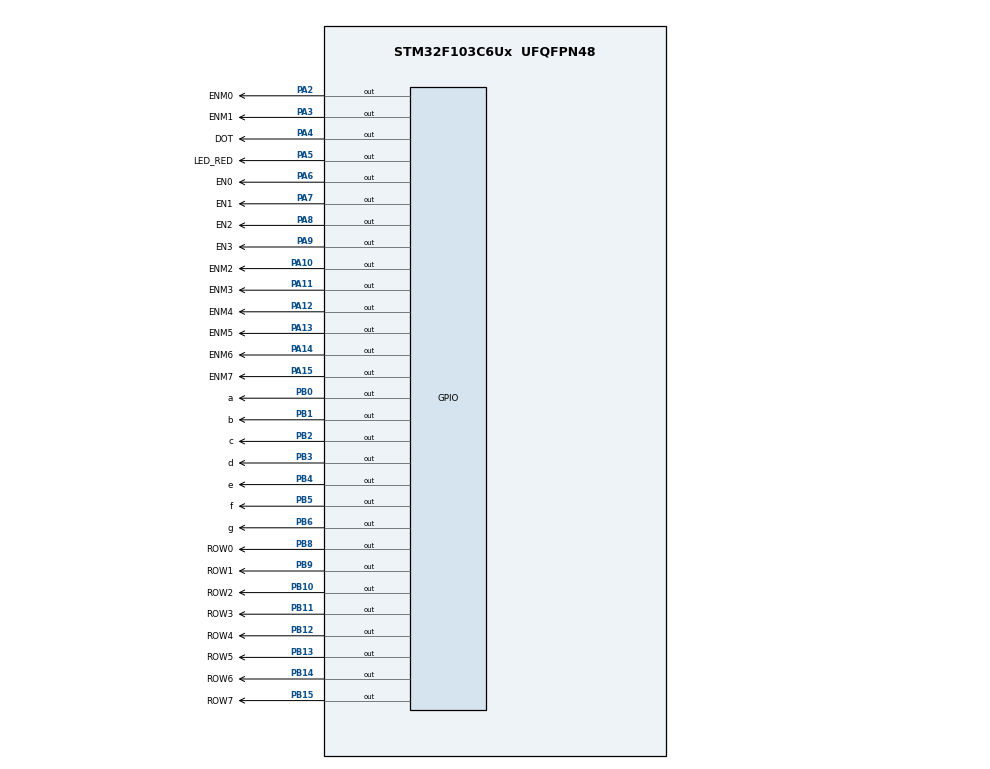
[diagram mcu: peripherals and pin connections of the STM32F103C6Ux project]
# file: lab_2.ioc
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Mcu.Family=STM32F1
Mcu.Name=STM32F103C6Ux
Mcu.Package=UFQFPN48
NVIC.PriorityGroup=NVIC_PRIORITYGROUP_4
NVIC.TIM2_IRQn=true\:0\:0\:false\:false\:true\:true\:true
PA10.GPIO_Label=ENM2
PA10.Signal=GPIO_Output
PA11.GPIO_Label=ENM3
PA11.Signal=GPIO_Output
PA12.GPIO_Label=ENM4
PA12.Signal=GPIO_Output
PA13.GPIO_Label=ENM5
PA13.Signal=GPIO_Output
PA14.GPIO_Label=ENM6
PA14.Signal=GPIO_Output
PA15.GPIO_Label=ENM7
PA15.Signal=GPIO_Output
PA2.GPIO_Label=ENM0
PA2.Signal=GPIO_Output
PA3.GPIO_Label=ENM1
PA3.Signal=GPIO_Output
PA4.GPIO_Label=DOT
PA4.Signal=GPIO_Output
PA5.GPIO_Label=LED_RED
PA5.Signal=GPIO_Output
PA6.GPIO_Label=EN0
PA6.Signal=GPIO_Output
PA7.GPIO_Label=EN1
PA7.Signal=GPIO_Output
PA8.GPIO_Label=EN2
PA8.Signal=GPIO_Output
PA9.GPIO_Label=EN3
PA9.Signal=GPIO_Output
PB0.GPIO_Label=a
PB0.Signal=GPIO_Output
PB1.GPIO_Label=b
PB1.Signal=GPIO_Output
PB10.GPIO_Label=ROW2
PB10.Signal=GPIO_Output
PB11.GPIO_Label=ROW3
PB11.Signal=GPIO_Output
PB12.GPIO_Label=ROW4
PB12.Signal=GPIO_Output
PB13.GPIO_Label=ROW5
PB13.Signal=GPIO_Output
PB14.GPIO_Label=ROW6
PB14.Signal=GPIO_Output
PB15.GPIO_Label=ROW7
PB15.Signal=GPIO_Output
PB2.GPIO_Label=c
PB2.Signal=GPIO_Output
PB3.GPIO_Label=d
PB3.Signal=GPIO_Output
PB4.GPIO_Label=e
PB4.Signal=GPIO_Output
PB5.GPIO_Label=f
PB5.Signal=GPIO_Output
PB6.GPIO_Label=g
PB6.Signal=GPIO_Output
PB8.GPIO_Label=ROW0
PB8.Signal=GPIO_Output
PB9.GPIO_Label=ROW1
PB9.Signal=GPIO_Output
ProjectManager.HeapSize=0x200
ProjectManager.StackSize=0x400
ProjectManager.TargetToolchain=STM32CubeIDE
RCC.APB1Freq_Value=8000000
RCC.APB2Freq_Value=8000000
TIM2.Period=9
TIM2.Prescaler=7999
VP_SYS_VS_ND.Mode=No_Debug
VP_TIM2_VS_ClockSourceINT.Mode=Internal
board=custom

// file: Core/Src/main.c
/* USER CODE BEGIN Header */
/**
  ******************************************************************************
  * @file           : main.c
  * @brief          : Main program body
  ******************************************************************************
  * @attention
  *
  * <h2><center>&copy; Copyright (c) 2023 STMicroelectronics.
  * All rights reserved.</center></h2>
  *
  * This software component is licensed by ST under BSD 3-Clause license,
  * the "License"; You may not use this file except in compliance with the
  * License. You may obtain a copy of the License at:
  *                        opensource.org/licenses/BSD-3-Clause
  *
  ******************************************************************************
  */
/* USER CODE END Header */
#include "main.h"

TIM_HandleTypeDef htim2;

void SystemClock_Config(void);
static void MX_GPIO_Init(void);
static void MX_TIM2_Init(void);
/* USER CODE BEGIN PFP */
void display7SEG(int num);
void updateClockBuffer(int h, int m);
/* USER CODE END PFP */

/* USER CODE BEGIN 0 */
/* Software timer Begin */
int TIMER_CYCLE = 10;
int timer0_counter = 0, timer1_counter = 0, timer2_counter = 0, timer3_counter = 0, timer4_counter = 0;
int timer0_flag = 0, timer1_flag = 0, timer2_flag = 0, timer3_flag = 0, timer4_flag = 0;
void setTimer0(int duration) {
	timer0_counter = duration/TIMER_CYCLE;
	timer0_flag = 0;
}
void setTimer1(int duration) {
	timer1_counter = duration/TIMER_CYCLE;
	timer1_flag = 0;
}
void setTimer2(int duration) {
	timer2_counter = duration/TIMER_CYCLE;
	timer2_flag = 0;
}
void setTimer3(int duration) {
	timer3_counter = duration/TIMER_CYCLE;
	timer3_flag = 0;
}
void setTimer4(int duration) {
	timer4_counter = duration/TIMER_CYCLE;
	timer4_flag = 0;
}
void timer_run() {
	if (timer0_counter > 0) {
		timer0_counter--;
		if (timer0_counter == 0) timer0_flag = 1;
	}
	if (timer1_counter > 0) {
		timer1_counter--;
		if (timer1_counter == 0) timer1_flag = 1;
	}
	if (timer2_counter > 0) {
		timer2_counter--;
		if (timer2_counter == 0) timer2_flag = 1;
	}
	if (timer3_counter > 0) {
		timer3_counter--;
		if (timer3_counter == 0) timer3_flag = 1;
	}
	if (timer4_counter > 0) {
		timer4_counter--;
		if (timer4_counter == 0) timer4_flag = 1;
	}
}
/* Software timer End */
void display7SEG(int num) {
	switch(num) {
		case 0:
			HAL_GPIO_WritePin(GPIOB, a_Pin | b_Pin | c_Pin | d_Pin | e_Pin | f_Pin, GPIO_PIN_RESET);
			HAL_GPIO_WritePin(GPIOB, g_Pin, GPIO_PIN_SET);
			break;
		case 1:
			HAL_GPIO_WritePin(GPIOB, b_Pin | c_Pin, GPIO_PIN_RESET);
			HAL_GPIO_WritePin(GPIOB, a_Pin | d_Pin | e_Pin | f_Pin | g_Pin, GPIO_PIN_SET);
			break;
		case 2:
			HAL_GPIO_WritePin(GPIOB, a_Pin | b_Pin | d_Pin | e_Pin | g_Pin, GPIO_PIN_RESET);
			HAL_GPIO_WritePin(GPIOB, c_Pin | f_Pin, GPIO_PIN_SET);
			break;
		case 3:
			HAL_GPIO_WritePin(GPIOB, a_Pin | b_Pin | c_Pin | d_Pin | g_Pin, GPIO_PIN_RESET);
			HAL_GPIO_WritePin(GPIOB, e_Pin | f_Pin, GPIO_PIN_SET);
			break;
		case 4:
			HAL_GPIO_WritePin(GPIOB, b_Pin | c_Pin | f_Pin | g_Pin, GPIO_PIN_RESET);
			HAL_GPIO_WritePin(GPIOB, a_Pin | d_Pin | e_Pin, GPIO_PIN_SET);
			break;
		case 5:
			HAL_GPIO_WritePin(GPIOB, a_Pin | c_Pin | d_Pin | f_Pin | g_Pin, GPIO_PIN_RESET);
			HAL_GPIO_WritePin(GPIOB, b_Pin | e_Pin, GPIO_PIN_SET);
			break;
		case 6:
			HAL_GPIO_WritePin(GPIOB, a_Pin | c_Pin | d_Pin | e_Pin | f_Pin | g_Pin, GPIO_PIN_RESET);
			HAL_GPIO_WritePin(GPIOB, b_Pin, GPIO_PIN_SET);
			break;
		case 7:
			HAL_GPIO_WritePin(GPIOB, a_Pin | b_Pin | c_Pin, GPIO_PIN_RESET);
			HAL_GPIO_WritePin(GPIOB, d_Pin | e_Pin | f_Pin | g_Pin, GPIO_PIN_SET);
			break;
		case 8:
			HAL_GPIO_WritePin(GPIOB, a_Pin | b_Pin | c_Pin | d_Pin | e_Pin | f_Pin | g_Pin, GPIO_PIN_RESET);
			break;
		case 9:
			HAL_GPIO_WritePin(GPIOB, a_Pin | b_Pin | c_Pin | d_Pin | f_Pin | g_Pin, GPIO_PIN_RESET);
			HAL_GPIO_WritePin(GPIOB, e_Pin, GPIO_PIN_SET);
			break;
		default:
			HAL_GPIO_WritePin(GPIOB, a_Pin | b_Pin | c_Pin | d_Pin | e_Pin | f_Pin | g_Pin, GPIO_PIN_SET);
	}
}

int led_buffer[4] = {0, 0, 0, 0};
void update7SEG(int index) {
	switch(index) {
		case 0:
			HAL_GPIO_WritePin(GPIOA, EN1_Pin|EN2_Pin|EN3_Pin, SET);
			display7SEG(led_buffer[0]);
			HAL_GPIO_WritePin(GPIOA, EN0_Pin, RESET);
			break;
		case 1:
			HAL_GPIO_WritePin(GPIOA, EN0_Pin|EN2_Pin|EN3_Pin, SET);
			display7SEG(led_buffer[1]);
			HAL_GPIO_WritePin(GPIOA, EN1_Pin, RESET);
			break;
		case 2:
			HAL_GPIO_WritePin(GPIOA, EN0_Pin|EN1_Pin|EN3_Pin, SET);
			display7SEG(led_buffer[2]);
			HAL_GPIO_WritePin(GPIOA, EN2_Pin, RESET);
			break;
		case 3:
			HAL_GPIO_WritePin(GPIOA, EN0_Pin|EN1_Pin|EN2_Pin, SET);
			display7SEG(led_buffer[3]);
			HAL_GPIO_WritePin(GPIOA, EN3_Pin, RESET);
			break;
		default:
			HAL_GPIO_WritePin(GPIOA, EN0_Pin|EN1_Pin|EN2_Pin|EN3_Pin, SET);
			break;
	}
}

void updateClockBuffer(int hour, int min) {
	led_buffer[0] = hour/10;
	led_buffer[1] = hour - led_buffer[0]*10;
	led_buffer[2] = min/10;
	led_buffer[3] = min - led_buffer[2]*10;
}

const int MAX_LED_MATRIX = 8;
int index_led_matrix = 0;
uint8_t matrix_buffer[8] = {0x18, 0x24, 0x42, 0x42, 0x7E, 0x42, 0x42, 0x42};
void displayLEDMatrix(uint8_t val) {
	char binStr[8];
	for (int i = 7; i >= 0; i--) binStr[7 - i] = ((val >> i) & 1) ? '1' : '0';
	HAL_GPIO_WritePin(GPIOA, ENM0_Pin|ENM1_Pin|ENM2_Pin|ENM3_Pin|ENM4_Pin|ENM5_Pin|ENM6_Pin|ENM7_Pin, SET);
	if (binStr[0] == '1') HAL_GPIO_WritePin(GPIOA, ENM0_Pin, RESET);
	if (binStr[1] == '1') HAL_GPIO_WritePin(GPIOA, ENM1_Pin, RESET);
	if (binStr[2] == '1') HAL_GPIO_WritePin(GPIOA, ENM2_Pin, RESET);
	if (binStr[3] == '1') HAL_GPIO_WritePin(GPIOA, ENM3_Pin, RESET);
	if (binStr[4] == '1') HAL_GPIO_WritePin(GPIOA, ENM4_Pin, RESET);
	if (binStr[5] == '1') HAL_GPIO_WritePin(GPIOA, ENM5_Pin, RESET);
	if (binStr[6] == '1') HAL_GPIO_WritePin(GPIOA, ENM6_Pin, RESET);
	if (binStr[7] == '1') HAL_GPIO_WritePin(GPIOA, ENM7_Pin, RESET);
}
void updateLEDMatrix(int index){
    switch (index){
        case 0:
        	HAL_GPIO_WritePin(GPIOB, ROW0_Pin, RESET);
        	HAL_GPIO_WritePin(GPIOB, ROW1_Pin|ROW2_Pin|ROW3_Pin|ROW4_Pin|ROW5_Pin|ROW6_Pin|ROW7_Pin, SET);
        	displayLEDMatrix(matrix_buffer[0]);
            break;
        case 1:
        	HAL_GPIO_WritePin(GPIOB, ROW1_Pin, RESET);
			HAL_GPIO_WritePin(GPIOB, ROW0_Pin|ROW2_Pin|ROW3_Pin|ROW4_Pin|ROW5_Pin|ROW6_Pin|ROW7_Pin, SET);
			displayLEDMatrix(matrix_buffer[1]);
            break;
        case 2:
        	HAL_GPIO_WritePin(GPIOB, ROW2_Pin, RESET);
			HAL_GPIO_WritePin(GPIOB, ROW1_Pin|ROW0_Pin|ROW3_Pin|ROW4_Pin|ROW5_Pin|ROW6_Pin|ROW7_Pin, SET);
			displayLEDMatrix(matrix_buffer[2]);
            break;
        case 3:
        	HAL_GPIO_WritePin(GPIOB, ROW3_Pin, RESET);
			HAL_GPIO_WritePin(GPIOB, ROW1_Pin|ROW2_Pin|ROW0_Pin|ROW4_Pin|ROW5_Pin|ROW6_Pin|ROW7_Pin, SET);
			displayLEDMatrix(matrix_buffer[3]);
            break;
        case 4:
        	HAL_GPIO_WritePin(GPIOB, ROW4_Pin, RESET);
			HAL_GPIO_WritePin(GPIOB, ROW1_Pin|ROW2_Pin|ROW3_Pin|ROW0_Pin|ROW5_Pin|ROW6_Pin|ROW7_Pin, SET);
			displayLEDMatrix(matrix_buffer[4]);
            break;
        case 5:
        	HAL_GPIO_WritePin(GPIOB, ROW5_Pin, RESET);
			HAL_GPIO_WritePin(GPIOB, ROW1_Pin|ROW2_Pin|ROW3_Pin|ROW4_Pin|ROW0_Pin|ROW6_Pin|ROW7_Pin, SET);
			displayLEDMatrix(matrix_buffer[5]);
            break;
        case 6:
        	HAL_GPIO_WritePin(GPIOB, ROW6_Pin, RESET);
			HAL_GPIO_WritePin(GPIOB, ROW1_Pin|ROW2_Pin|ROW3_Pin|ROW4_Pin|ROW5_Pin|ROW0_Pin|ROW7_Pin, SET);
			displayLEDMatrix(matrix_buffer[6]);
            break;
        case 7:
        	HAL_GPIO_WritePin(GPIOB, ROW7_Pin, RESET);
			HAL_GPIO_WritePin(GPIOB, ROW1_Pin|ROW2_Pin|ROW3_Pin|ROW4_Pin|ROW5_Pin|ROW6_Pin|ROW0_Pin, SET);
			displayLEDMatrix(matrix_buffer[7]);
            break;
        default:
        	HAL_GPIO_WritePin(GPIOB, ROW0_Pin|ROW1_Pin|ROW2_Pin|ROW3_Pin|ROW4_Pin|ROW5_Pin|ROW6_Pin|ROW7_Pin, RESET);
            break;
    }
}
void shiftUpMatrixBuffer() {
	// Shift left matrix_buffer:
	uint8_t tmp = matrix_buffer[0];
	for (int i = 0; i < 7; i++)
		matrix_buffer[i] = matrix_buffer[i + 1];
	matrix_buffer[7] = tmp;
}
/* USER CODE END 0 */

int main(void)
{

  /* MCU Configuration--------------------------------------------------------*/

  /* Reset of all peripherals, Initializes the Flash interface and the Systick. */
  HAL_Init();

  /* Configure the system clock */
  SystemClock_Config();

  /* Initialize all configured peripherals */
  MX_GPIO_Init();
  MX_TIM2_Init();
  /* USER CODE BEGIN 2 */
  HAL_TIM_Base_Start_IT(&htim2);
  /* USER CODE END 2 */

  /* Infinite loop */
  /* USER CODE BEGIN WHILE */
	int hour = 9, minute = 8, second = 50;
	int index_led = 0;
	int index_matrix = 0;
	setTimer0(1000);
	setTimer1(1000);
	setTimer2(250);
	setTimer3(250);
	setTimer4(2000);
	while (1)
	{
		if (timer0_flag == 1) {
			second++;
			if (second >= 60) {
				second = 0;
				minute++;
			}
			if (minute >= 60) {
				minute = 0;
				hour++;
			}
			if (hour >= 24) {
				hour = 0;
			}
			HAL_GPIO_TogglePin(LED_RED_GPIO_Port, LED_RED_Pin);
			HAL_GPIO_TogglePin(DOT_GPIO_Port, DOT_Pin);
			setTimer0(1000);
		}

		if (timer1_flag == 1) {
		  updateClockBuffer(hour, minute);
		  setTimer1(1000);
		}

		if (timer2_flag == 1) {
		  update7SEG(index_led++);
		  if (index_led >= 4)
			  index_led = 0;
		  setTimer2(250);
		}

		if (timer3_flag == 1) {
			updateLEDMatrix(index_matrix++);
			if (index_matrix >= 8)
				index_matrix = 0;
			setTimer3(250);
		}

		if (timer4_flag == 1) {
			shiftUpMatrixBuffer();
			setTimer4(2000);
		}
    /* USER CODE END WHILE */

	}
}

void SystemClock_Config(void)
{
  RCC_OscInitTypeDef RCC_OscInitStruct = {0};
  RCC_ClkInitTypeDef RCC_ClkInitStruct = {0};

  /** Initializes the RCC Oscillators according to the specified parameters
  * in the RCC_OscInitTypeDef structure.
  */
  RCC_OscInitStruct.OscillatorType = RCC_OSCILLATORTYPE_HSI;
  RCC_OscInitStruct.HSIState = RCC_HSI_ON;
  RCC_OscInitStruct.HSICalibrationValue = RCC_HSICALIBRATION_DEFAULT;
  RCC_OscInitStruct.PLL.PLLState = RCC_PLL_NONE;
  if (HAL_RCC_OscConfig(&RCC_OscInitStruct) != HAL_OK)
  {
    Error_Handler();
  }
  /** Initializes the CPU, AHB and APB buses clocks
  */
  RCC_ClkInitStruct.ClockType = RCC_CLOCKTYPE_HCLK|RCC_CLOCKTYPE_SYSCLK
                              |RCC_CLOCKTYPE_PCLK1|RCC_CLOCKTYPE_PCLK2;
  RCC_ClkInitStruct.SYSCLKSource = RCC_SYSCLKSOURCE_HSI;
  RCC_ClkInitStruct.AHBCLKDivider = RCC_SYSCLK_DIV1;
  RCC_ClkInitStruct.APB1CLKDivider = RCC_HCLK_DIV1;
  RCC_ClkInitStruct.APB2CLKDivider = RCC_HCLK_DIV1;

  if (HAL_RCC_ClockConfig(&RCC_ClkInitStruct, FLASH_LATENCY_0) != HAL_OK)
  {
    Error_Handler();
  }
}

static void MX_TIM2_Init(void)
{

  TIM_ClockConfigTypeDef sClockSourceConfig = {0};
  TIM_MasterConfigTypeDef sMasterConfig = {0};

  htim2.Instance = TIM2;
  htim2.Init.Prescaler = 7999;
  htim2.Init.CounterMode = TIM_COUNTERMODE_UP;
  htim2.Init.Period = 9;
  htim2.Init.ClockDivision = TIM_CLOCKDIVISION_DIV1;
  htim2.Init.AutoReloadPreload = TIM_AUTORELOAD_PRELOAD_DISABLE;
  if (HAL_TIM_Base_Init(&htim2) != HAL_OK)
  {
    Error_Handler();
  }
  sClockSourceConfig.ClockSource = TIM_CLOCKSOURCE_INTERNAL;
  if (HAL_TIM_ConfigClockSource(&htim2, &sClockSourceConfig) != HAL_OK)
  {
    Error_Handler();
  }
  sMasterConfig.MasterOutputTrigger = TIM_TRGO_RESET;
  sMasterConfig.MasterSlaveMode = TIM_MASTERSLAVEMODE_DISABLE;
  if (HAL_TIMEx_MasterConfigSynchronization(&htim2, &sMasterConfig) != HAL_OK)
  {
    Error_Handler();
  }

}

static void MX_GPIO_Init(void)
{
  GPIO_InitTypeDef GPIO_InitStruct = {0};

  /* GPIO Ports Clock Enable */
  __HAL_RCC_GPIOA_CLK_ENABLE();
  __HAL_RCC_GPIOB_CLK_ENABLE();

  /*Configure GPIO pin Output Level */
  HAL_GPIO_WritePin(GPIOA, ENM0_Pin|ENM1_Pin|DOT_Pin|LED_RED_Pin
                          |EN0_Pin|EN1_Pin|EN2_Pin|EN3_Pin
                          |ENM2_Pin|ENM3_Pin|ENM4_Pin|ENM5_Pin
                          |ENM6_Pin|ENM7_Pin, GPIO_PIN_RESET);

  /*Configure GPIO pin Output Level */
  HAL_GPIO_WritePin(GPIOB, a_Pin|b_Pin|c_Pin|ROW2_Pin
                          |ROW3_Pin|ROW4_Pin|ROW5_Pin|ROW6_Pin
                          |ROW7_Pin|d_Pin|e_Pin|f_Pin
                          |g_Pin|ROW0_Pin|ROW1_Pin, GPIO_PIN_RESET);

  /*Configure GPIO pins : ENM0_Pin ENM1_Pin DOT_Pin LED_RED_Pin
                           EN0_Pin EN1_Pin EN2_Pin EN3_Pin
                           ENM2_Pin ENM3_Pin ENM4_Pin ENM5_Pin
                           ENM6_Pin ENM7_Pin */
  GPIO_InitStruct.Pin = ENM0_Pin|ENM1_Pin|DOT_Pin|LED_RED_Pin
                          |EN0_Pin|EN1_Pin|EN2_Pin|EN3_Pin
                          |ENM2_Pin|ENM3_Pin|ENM4_Pin|ENM5_Pin
                          |ENM6_Pin|ENM7_Pin;
  GPIO_InitStruct.Mode = GPIO_MODE_OUTPUT_PP;
  GPIO_InitStruct.Pull = GPIO_NOPULL;
  GPIO_InitStruct.Speed = GPIO_SPEED_FREQ_LOW;
  HAL_GPIO_Init(GPIOA, &GPIO_InitStruct);

  /*Configure GPIO pins : a_Pin b_Pin c_Pin ROW2_Pin
                           ROW3_Pin ROW4_Pin ROW5_Pin ROW6_Pin
                           ROW7_Pin d_Pin e_Pin f_Pin
                           g_Pin ROW0_Pin ROW1_Pin */
  GPIO_InitStruct.Pin = a_Pin|b_Pin|c_Pin|ROW2_Pin
                          |ROW3_Pin|ROW4_Pin|ROW5_Pin|ROW6_Pin
                          |ROW7_Pin|d_Pin|e_Pin|f_Pin
                          |g_Pin|ROW0_Pin|ROW1_Pin;
  GPIO_InitStruct.Mode = GPIO_MODE_OUTPUT_PP;
  GPIO_InitStruct.Pull = GPIO_NOPULL;
  GPIO_InitStruct.Speed = GPIO_SPEED_FREQ_LOW;
  HAL_GPIO_Init(GPIOB, &GPIO_InitStruct);

}

/* USER CODE BEGIN 4 */
void HAL_TIM_PeriodElapsedCallback(TIM_HandleTypeDef *htim2) {
	timer_run();
}
/* USER CODE END 4 */

void Error_Handler(void)
{
  __disable_irq();
  while (1)
  {
  }
}

/************************ (C) COPYRIGHT STMicroelectronics *****END OF FILE****/
